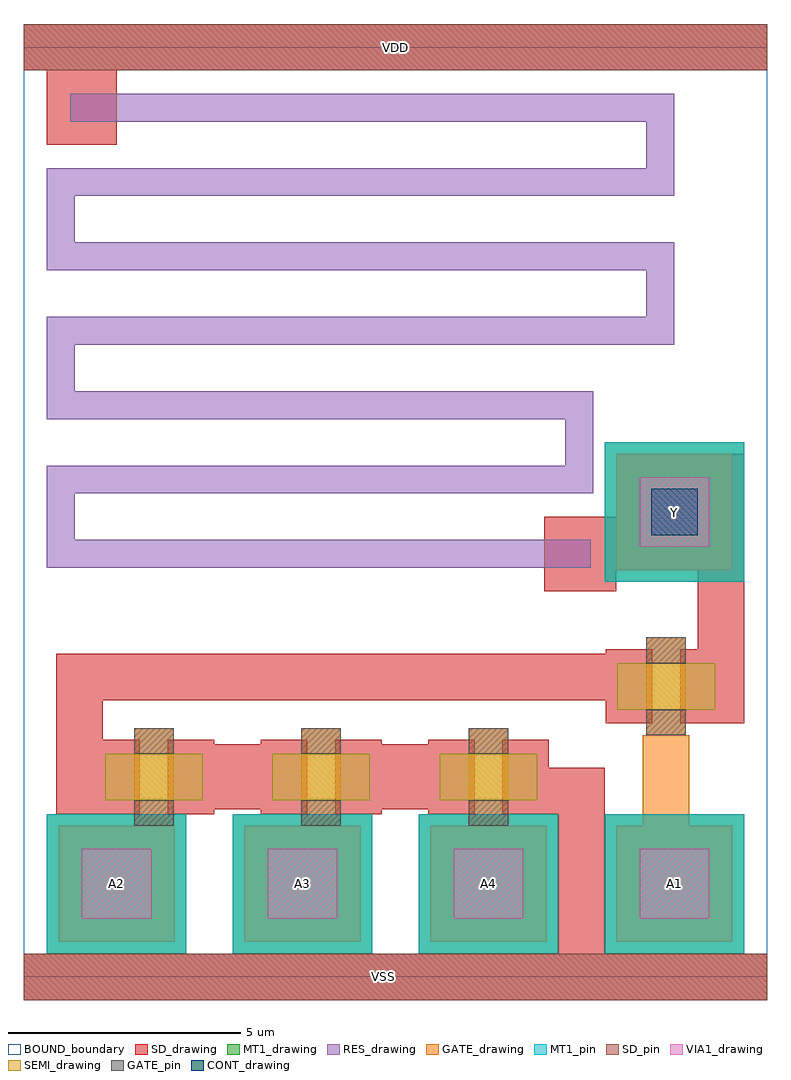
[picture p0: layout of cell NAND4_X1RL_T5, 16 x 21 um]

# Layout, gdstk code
from math import pi, radians
import gdstk
lib = gdstk.Library(unit=1e-6, precision=1e-09)
def R(c, l, rs):  # rectangles x0, y0, x1, y1
    for r in rs: c.add(gdstk.rectangle(r[:2], r[2:], *l))
def A(c, l, x, y, w, h, nx, ny, dx, dy):  # array of equal rectangles
    R(c, l, [(x+i*dx, y+j*dy, x+i*dx+w, y+j*dy+h) for i in range(nx) for j in range(ny)])
def P(c, l, *ps):  # polygons
    for p in ps: c.add(gdstk.Polygon(p, *l))
RES_drawing = (1, 0)
SEMI_drawing = (3, 0)
SD_drawing = (10, 0)
SD_pin = (10, 3)
GATE_drawing = (11, 0)
GATE_pin = (11, 3)
MT1_drawing = (20, 0)
MT1_pin = (20, 3)
CONT_drawing = (30, 0)
VIA1_drawing = (41, 0)
BOUND_boundary = (150, 5)

nch_cdns_772545042790 = lib.new_cell('nch_CDNS_772545042790')
R(nch_cdns_772545042790, SEMI_drawing, [(-1.05,-0.5,1.05,0.5)])
R(nch_cdns_772545042790, SD_drawing, [(-1.3,-0.8,-0.3,0.8), (0.3,-0.8,1.3,0.8)])
R(nch_cdns_772545042790, GATE_drawing, [(-0.425,-1.05,0.425,1.05)])
R(nch_cdns_772545042790, GATE_pin, [(-0.425,-1.05,0.425,-0.5), (-0.425,0.5,0.425,1.05)])

sd_gate_cdns_77254504279 = lib.new_cell('SD_GATE_CDNS_772545042790')
R(sd_gate_cdns_77254504279, SD_drawing, [(-1,-1,1,1)])
R(sd_gate_cdns_77254504279, GATE_drawing, [(-1,-1,1,1)])
R(sd_gate_cdns_77254504279, CONT_drawing, [(-0.5,-0.5,0.5,0.5)])

gate_mt1_cdns_7725450427 = lib.new_cell('GATE_MT1_CDNS_772545042791')
R(gate_mt1_cdns_7725450427, GATE_drawing, [(-1.25,-1.25,1.25,1.25)])
R(gate_mt1_cdns_7725450427, MT1_drawing, [(-1.25,-1.25,1.25,1.25)])
R(gate_mt1_cdns_7725450427, VIA1_drawing, [(-0.75,-0.75,0.75,0.75)])

nand4_x1rl_t5 = lib.new_cell('NAND4_X1RL_T5')
R(nand4_x1rl_t5, SD_drawing, [(11.2,8.3,12.75,9.9), (12.75,8.75,15.25,11.25), (0.5,17.9,2,19.5)])
R(nand4_x1rl_t5, SD_pin, [(0,-0.5,16,0.5), (0,19.5,16,20.5)])
P(nand4_x1rl_t5, GATE_drawing, [(13.325,5.1),(14.325,5.1),(14.325,5.2),(14.2,5.2),(14.2,5.25),(13.45,5.25),(13.45,5.2),(13.325,5.2)],
  [(9.475,3.15),(10.45,3.15),(10.45,3.25),(10.375,3.25),(10.375,3.3),(9.625,3.3),(9.625,3.25),(9.475,3.25)],
  [(5.875,3.15),(6.85,3.15),(6.85,3.25),(6.775,3.25),(6.775,3.3),(6.025,3.3),(6.025,3.25),(5.875,3.25)],
  [(2.275,3.15),(3.25,3.15),(3.25,3.25),(3.175,3.25),(3.175,3.3),(2.425,3.3),(2.425,3.25),(2.275,3.25)])
A(nand4_x1rl_t5, MT1_drawing, 0.5, 0.5, 3, 3, 4, 1, 4, 0)
R(nand4_x1rl_t5, MT1_drawing, [(12.5,8.5,15.5,11.5)])
A(nand4_x1rl_t5, MT1_pin, 0.5, 0.5, 3, 3, 4, 1, 4, 0)
R(nand4_x1rl_t5, MT1_pin, [(12.5,8.5,15.5,11.5)])
R(nand4_x1rl_t5, BOUND_boundary, [(0,0,16,20)])
nand4_x1rl_t5.add(gdstk.FlexPath([(13.825,2),(14,2)], 1, ends=(0.5, 0), simple_path=True, layer=11, datatype=0))  # GATE_drawing
nand4_x1rl_t5.add(gdstk.FlexPath([(13.825,5.1),(13.825,2)], 1, ends=(0, 0.5), simple_path=True, layer=11, datatype=0))  # GATE_drawing
nand4_x1rl_t5.add(gdstk.FlexPath([(0,20),(16,20)], 1, ends="flush", simple_path=True, layer=10, datatype=0))  # SD_drawing
nand4_x1rl_t5.add(gdstk.FlexPath([(0,0),(16,0)], 1, ends="flush", simple_path=True, layer=10, datatype=0))  # SD_drawing
nand4_x1rl_t5.add(gdstk.FlexPath([(12,0),(12,4)], 1, ends=(0, 0.5), simple_path=True, layer=10, datatype=0))  # SD_drawing
nand4_x1rl_t5.add(gdstk.FlexPath([(12,4),(11.3,4)], 1, ends=(0.5, 0), simple_path=True, layer=10, datatype=0))  # SD_drawing
nand4_x1rl_t5.add(gdstk.FlexPath([(8.7,4.3),(7.7,4.3)], 1.4, ends="flush", simple_path=True, layer=10, datatype=0))  # SD_drawing
nand4_x1rl_t5.add(gdstk.FlexPath([(5.1,4.3),(4.1,4.3)], 1.4, ends="flush", simple_path=True, layer=10, datatype=0))  # SD_drawing
nand4_x1rl_t5.add(gdstk.FlexPath([(15,5.45),(15,11.25)], 1, ends="flush", simple_path=True, layer=10, datatype=0))  # SD_drawing
nand4_x1rl_t5.add(gdstk.FlexPath([(1.2,6.45),(12.525,6.45)], 1, ends=(0.5, 0), simple_path=True, layer=10, datatype=0))  # SD_drawing
nand4_x1rl_t5.add(gdstk.FlexPath([(1.2,3.5),(1.2,6.45)], 1, ends=(0, 0.5), simple_path=True, layer=10, datatype=0))  # SD_drawing
nand4_x1rl_t5.add(gdstk.FlexPath([(1,18.7),(13.7,18.7),(13.7,17.1),(0.8,17.1),(0.8,15.5),(13.7,15.5),(13.7,13.9),(0.8,13.9),(0.8,12.3),(11.95,12.3),(11.95,10.7),(0.8,10.7),(0.8,9.1),(12.2,9.1)], 0.6, ends="flush", simple_path=True, layer=1, datatype=0))  # RES_drawing
nand4_x1rl_t5.add(gdstk.Reference(nch_cdns_772545042790, (10,4.3), rotation=pi, x_reflection=True))
nand4_x1rl_t5.add(gdstk.Reference(nch_cdns_772545042790, (6.4,4.3)))
nand4_x1rl_t5.add(gdstk.Reference(nch_cdns_772545042790, (13.825,6.25)))
nand4_x1rl_t5.add(gdstk.Reference(nch_cdns_772545042790, (2.8,4.3), rotation=pi, x_reflection=True))
nand4_x1rl_t5.add(gdstk.Reference(sd_gate_cdns_77254504279, (14,10)))
nand4_x1rl_t5.add(gdstk.Reference(gate_mt1_cdns_7725450427, (10,2)))
nand4_x1rl_t5.add(gdstk.Reference(gate_mt1_cdns_7725450427, (6,2)))
nand4_x1rl_t5.add(gdstk.Reference(gate_mt1_cdns_7725450427, (2,2)))
nand4_x1rl_t5.add(gdstk.Reference(gate_mt1_cdns_7725450427, (14,2)))
nand4_x1rl_t5.add(gdstk.Reference(gate_mt1_cdns_7725450427, (14,10)))
nand4_x1rl_t5.add(gdstk.Label('Y', (14,10), layer=20, texttype=3))
nand4_x1rl_t5.add(gdstk.Label('A3', (6,2), layer=20, texttype=3))
nand4_x1rl_t5.add(gdstk.Label('A2', (2,2), layer=20, texttype=3))
nand4_x1rl_t5.add(gdstk.Label('A1', (14,2), layer=20, texttype=3))
nand4_x1rl_t5.add(gdstk.Label('A4', (10,2), layer=20, texttype=3))
nand4_x1rl_t5.add(gdstk.Label('VDD', (8,20), layer=10, texttype=3))
nand4_x1rl_t5.add(gdstk.Label('VSS', (7.75,0), layer=10, texttype=3))

lib.write_gds('NAND4_X1RL_T5.gds')
